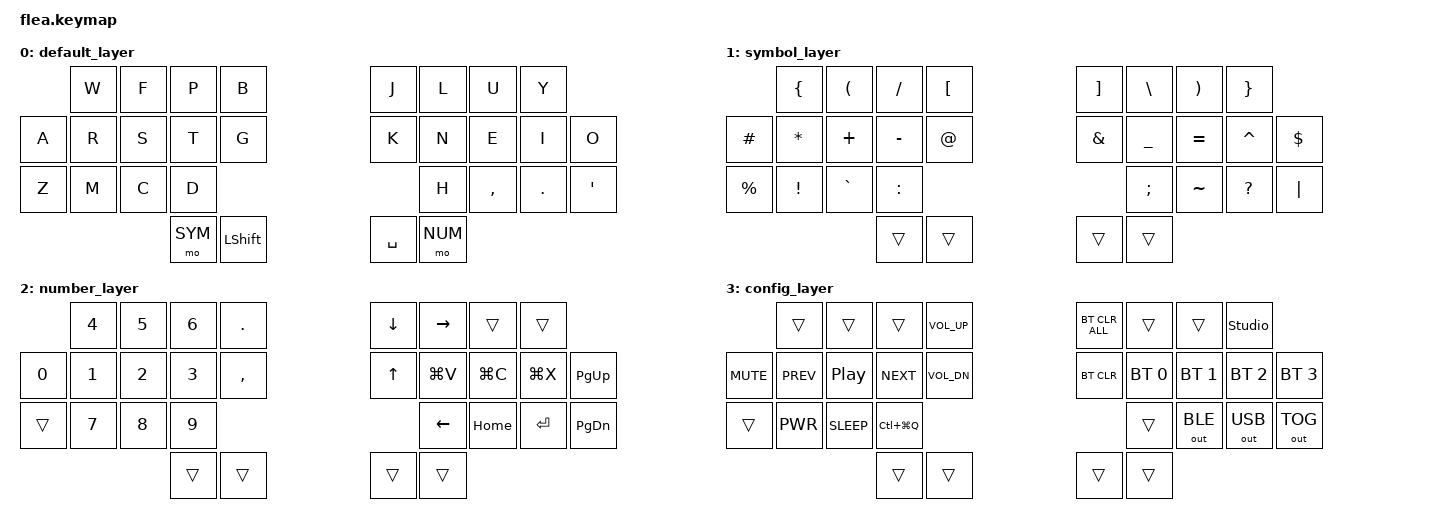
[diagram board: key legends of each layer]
/*
 * Copyright (c) 2020 The ZMK Contributors
 *
 * SPDX-License-Identifier: MIT
 */

#include <behaviors.dtsi>
#include <dt-bindings/zmk/keys.h>
#include <dt-bindings/zmk/bt.h>
#include <dt-bindings/zmk/outputs.h>

#define DEF 0
#define SYM 1
#define NUM 2
#define CFG 3

#include "combos.dtsi"

&mt {
    // flavor = "tap-preferred";
    // tapping_term_ms = <200>;
};

/ {
    conditional_layers {
        compatible = "zmk,conditional-layers";
        config_layer {
            if-layers = <SYM NUM>;
            then-layer = <CFG>;
        };
    };

    keymap {
        compatible = "zmk,keymap";

        default_layer {
//     ┌───┬───┬───┬───┐       ┌───┬───┬───┬───┐
//     │ W │ F │ P │ B │       │ J │ L │ U │ Y │
// ┌───┼───┼───┼───┼───┤       ├───┼───┼───┼───┼───┐
// │ A │ R │ S │ T │ G │       │ K │ N │ E │ I │ O │
// ├───┼───┼───┼───┼───┘       └───┼───┼───┼───┼───┤
// │ Z │ M │ C │ D │               │ H │ , │ . │ ' │
// └───┴───┴───┼───┼───┐       ┌───┼───┼───┴───┴───┘
//             │SYM│SFT│       │SPC│NUM│
//             └───┴───┘       └───┴───┘
            bindings = <
                      &kp W &kp F &kp P   &kp B       &kp J   &kp L &kp U    &kp Y
                &kp A &kp R &kp S &kp T   &kp G       &kp K   &kp N &kp E    &kp I   &kp O
                &kp Z &kp M &kp C &kp D                       &kp H &kp CMMA &kp DOT &kp SQT
                                  &mo SYM &kp LSHFT   &kp SPC &mo NUM
            >;
        };

        symbol_layer {
//     ┌───┬───┬───┬───┐       ┌───┬───┬───┬───┐
//     │ { │ ( │ / │ [ │       │ ] │ \ │ ) │ } │
// ┌───┼───┼───┼───┼───┤       ├───┼───┼───┼───┼───┐
// │ # │ * │ + │ - │ @ │       │ & │ _ │ = │ ^ │ $ │
// ├───┼───┼───┼───┼───┘       └───┼───┼───┼───┼───┤
// │ % │ ! │ ` │ : │               │ ; │ ~ │ ? │ | │
// └───┴───┴───┼───┼───┐       ┌───┼───┼───┴───┴───┘
//             │███│   │       │   │   │
//             └───┴───┘       └───┴───┘
            bindings = <
                          &kp LBRC  &kp LPAR  &kp FSLH  &kp LBKT    &kp RBKT  &kp BSLH  &kp RPAR  &kp RBRC
                &kp HASH  &kp ASTRK &kp PLUS  &kp MINUS &kp AT      &kp AMPS  &kp UNDER &kp EQUAL &kp CARET &kp DLLR
                &kp PRCNT &kp EXCL  &kp GRAVE &kp COLON                       &kp SEMI  &kp TILDE &kp QMARK &kp PIPE
                                              &trans    &trans      &trans    &trans
            >;
        };

        number_layer {
//     ┌───┬───┬───┬───┐       ┌───┬───┬───┬───┐
//     │ 4 │ 5 │ 6 │ . │       │ ↓ │ → │   │   │
// ┌───┼───┼───┼───┼───┤       ├───┼───┼───┼───┼───┐
// │ 0 │ 1 │ 2 │ 3 │ , │       │ ↑ │PST│CPY│CUT│PGU│
// ├───┼───┼───┼───┼───┘       └───┼───┼───┼───┼───┤
// │   │ 7 │ 8 │ 9 │               │ ← │HME│ENT│PGD│
// └───┴───┴───┼───┼───┐       ┌───┼───┼───┴───┴───┘
//             │   │   │       │   │███│
//             └───┴───┘       └───┴───┘
            bindings = <
                         &kp N4 &kp N5 &kp N6 &kp DOT       &kp DOWN  &kp RIGHT  &trans      &trans
                &kp N0   &kp N1 &kp N2 &kp N3 &kp CMMA      &kp UP    &kp LG(V)  &kp LG(C)   &kp LG(X) &kp PG_UP
                &trans   &kp N7 &kp N8 &kp N9                          &kp LEFT   &kp HOME    &kp RET   &kp PG_DN
                                       &trans &trans         &trans    &trans
            >;
        };
        config_layer {
          //     ┌───┬───┬───┬───┐       ┌───┬───┬───┬───┐
          //     │   │   │   │VUP│       │CLA│   │   │LCK│
          // ┌───┼───┼───┼───┼───┤       ├───┼───┼───┼───┼───┐
          // │MUT│PRV│PLY│NXT│VDN│       │CLR│BT0│BT1│BT2│BT3│
          // ├───┼───┼───┼───┼───┘       └───┼───┼───┼───┼───┤
          // │   │PWR│SLP│LCK│               │   │BLE│USB│TOG│
          // └───┴───┴───┼───┼───┐       ┌───┼───┼───┴───┴───┘
          //             │███│   │       │   │███│
          //             └───┴───┘       └───┴───┘
          bindings = <
                              &trans       &trans      &trans      &kp C_VOL_UP    &bt BT_CLR_ALL &trans       &trans       &studio_unlock
            &kp C_MUTE        &kp C_PREV   &kp C_PP    &kp C_NEXT  &kp C_VOL_DN    &bt BT_CLR     &bt BT_SEL 0 &bt BT_SEL 1 &bt BT_SEL 2 &bt BT_SEL 3
            &trans            &kp C_PWR    &kp C_SLEEP &kp LC(LG(Q))                              &trans       &out OUT_BLE &out OUT_USB &out OUT_TOG
                                                       &trans      &trans          &trans         &trans
          >;
        };
    };
};
